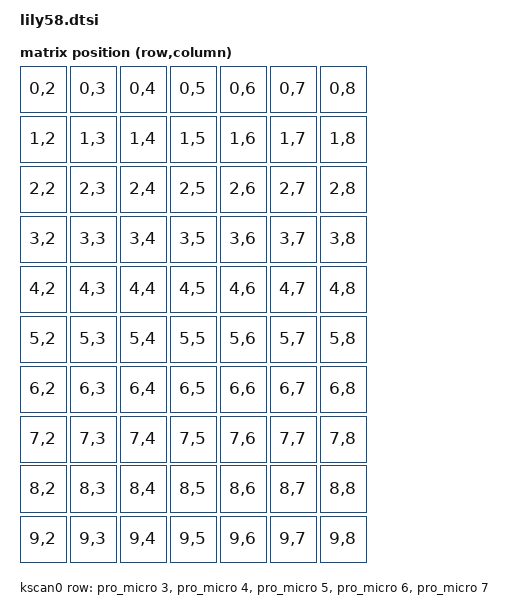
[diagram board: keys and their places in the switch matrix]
/*
 * Copyright (c) 2020 Pete Johanson
 *
 * SPDX-License-Identifier: MIT
 */

#include <dt-bindings/zmk/matrix_transform.h>

#include <layouts/kata0510/lily58.dtsi>

/ {
    chosen {
        //zephyr,display = &oled;
        zmk,kscan = &kscan0;
        zmk,matrix_transform
        //zmk,physical-layout = &kata0510_lily58_layout;
    };

    default_transform: keymap_transform_0 {
        compatible = "zmk,matrix-transform";
        columns = <8>;
        rows = <10>;
// | SW6  | SW5  | SW4  | SW3  | SW2  | SW1  |                 | SW1  | SW2  | SW3  | SW4  | SW5  | SW6  |
// | SW12 | SW11 | SW10 | SW9  | SW8  | SW7  |                 | SW7  | SW8  | SW9  | SW10 | SW11 | SW12 |
// | SW18 | SW17 | SW16 | SW15 | SW14 | SW13 |                 | SW13 | SW14 | SW15 | SW16 | SW17 | SW18 |
// | SW24 | SW23 | SW22 | SW21 | SW20 | SW19 | SW25 |   | SW25 | SW19 | SW20 | SW21 | SW22 | SW23 | SW24 |
//                      | SW29 | SW28 | SW27 | SW26 |   | SW26 | SW27 | SW28 | SW29 |
        map = <
RC(0,2) RC(0,3) RC(0,4) RC(0,5) RC(0,6) RC(0,7) RC(0,8)
RC(1,2) RC(1,3) RC(1,4) RC(1,5) RC(1,6) RC(1,7) RC(1,8) 
RC(2,2) RC(2,3) RC(2,4) RC(2,5) RC(2,6) RC(2,7) RC(2,8) 
RC(3,2) RC(3,3) RC(3,4) RC(3,5) RC(3,6) RC(3,7) RC(3,8) 
RC(4,2) RC(4,3) RC(4,4) RC(4,5) RC(4,6) RC(4,7) RC(4,8) 
RC(5,2) RC(5,3) RC(5,4) RC(5,5) RC(5,6) RC(5,7) RC(5,8) 
RC(6,2) RC(6,3) RC(6,4) RC(6,5) RC(6,6) RC(6,7) RC(6,8) 
RC(7,2) RC(7,3) RC(7,4) RC(7,5) RC(7,6) RC(7,7) RC(7,8) 
RC(8,2) RC(8,3) RC(8,4) RC(8,5) RC(8,6) RC(8,7) RC(8,8) 
RC(9,2) RC(9,3) RC(9,4) RC(9,5) RC(9,6) RC(9,7) RC(9,8) 
        >;
    };

    kscan0: kscan {
        compatible = "zmk,kscan-gpio-matrix";
        wakeup-source;

        diode-direction = "col2row";
        row-gpios
            = <&pro_micro 3 (GPIO_ACTIVE_HIGH | GPIO_PULL_DOWN)>
            , <&pro_micro 4 (GPIO_ACTIVE_HIGH | GPIO_PULL_DOWN)>
            , <&pro_micro 5 (GPIO_ACTIVE_HIGH | GPIO_PULL_DOWN)>
            , <&pro_micro 6 (GPIO_ACTIVE_HIGH | GPIO_PULL_DOWN)>
            , <&pro_micro 7 (GPIO_ACTIVE_HIGH | GPIO_PULL_DOWN)>
            ;

    };
};

&kata0510_lily58_layout {
    transform = <&default_transform>;
};

&pro_micro_i2c {
    status = "okay";
};
